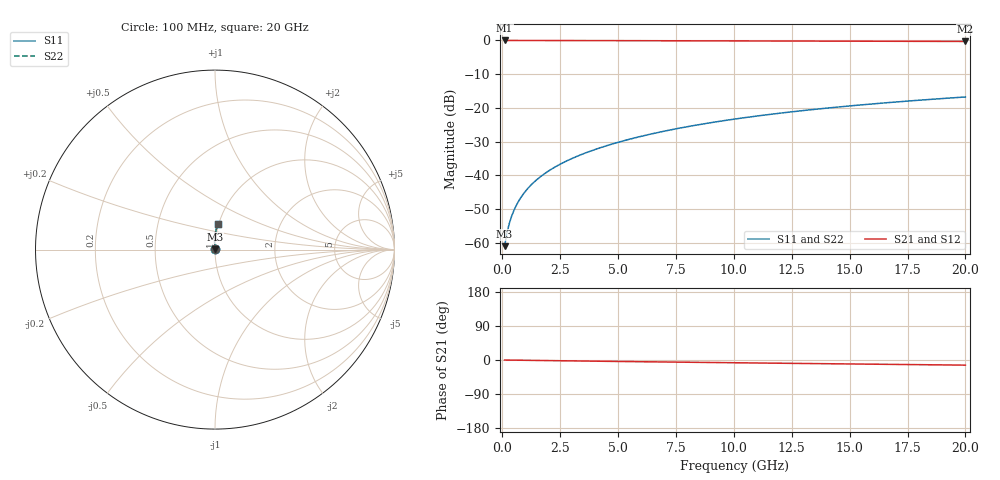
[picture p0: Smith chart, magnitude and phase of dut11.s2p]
! Touchstone file exported from HFSS 2024.1.0
!  File:  C:/UserFiles/LocalFiles/RDL_TSV_Batchsim/temp_RDL_top_11_1778679802.aedt
!  Generated:  09:45:52 PM May 13, 2026
!  Design:  RDL_top
!  Project:  temp_RDL_top_11_1778679802
!  Setup:  Setup1
!  Solution:  Sweep
! Variables:
!  dtsv = 10.80580581um
!  hbump = 3um
!  htsv = 93.51um
!  ldown = 100um
!  lrdl = 158.12um
!  p = 40
!  p1 = 59.02um
!  rhole = 1um
!  t = 450um
!  tdown = 3.915915916um
!  trdl = 4.48um
!  wdown = 15.38538539um
!  wrdl = 28.85um
# GHz S MA R 50.000000
! Terminal data exported
! Port[1] = Box2_T1
! Port[2] = Box2_T2
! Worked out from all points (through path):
!   200 points, 100 MHz to 20 GHz, reference 50 ohm
!   highest |S21| = -0.01 dB at 100 MHz (marker M1); lowest = -0.3 dB at 20 GHz (marker M2)
!   group delay of S21, straight-line fit = 1.85 ps
!   lowest |S11| = -61.0 dB at 100 MHz (marker M3), VSWR 1.00, Z = 50.1 + j0.0633 ohm
!   |S11| at or under -10 dB: start of sweep to end of sweep
!   |S22| runs from -61.0 to -16.8 dB; largest |S21 - S12| = 3.1e-15
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0.1  0.0008925 45.1  0.9994 -0.1  0.9994 -0.1  0.0008925 45.1
! Gamma 0 0 0 0
! Port Impedance 50 0 50 0
0.2  0.001397 61.3  0.9993 -0.2  0.9993 -0.2  0.001397 61.3
0.3  0.001925 68.8  0.9993 -0.2  0.9993 -0.2  0.001925 68.8
0.4  0.002463 73.4  0.9992 -0.3  0.9992 -0.3  0.002463 73.4
0.5  0.003008 76.5  0.9992 -0.4  0.9992 -0.4  0.003008 76.5
0.6  0.003561 78.7  0.9991 -0.5  0.9991 -0.5  0.003561 78.7
0.8  0.00468 81.8  0.999 -0.7  0.999 -0.7  0.00468 81.8
1.1  0.006384 84.7  0.9988 -0.9  0.9988 -0.9  0.006384 84.7
1.5  0.008693 87.0  0.9985 -1.2  0.9985 -1.2  0.008693 87.0
1.8  0.01045 88.2  0.9982 -1.5  0.9982 -1.5  0.01045 88.2
2.1  0.01223 89.1  0.9978 -1.7  0.9978 -1.7  0.01223 89.1
2.7  0.01587 90.5  0.997 -2.2  0.997 -2.2  0.01587 90.5
3.5  0.0209 91.8  0.9956 -2.8  0.9956 -2.8  0.0209 91.8
4.2  0.02548 92.5  0.9943 -3.3  0.9943 -3.3  0.02548 92.5
5  0.0309 93.0  0.9927 -3.9  0.9927 -3.9  0.0309 93.0
6.8  0.04377 93.1  0.989 -5.1  0.989 -5.1  0.04377 93.1
8.4  0.05577 92.4  0.9858 -6.2  0.9858 -6.2  0.05577 92.4
10.1  0.06884 91.3  0.9826 -7.3  0.9826 -7.3  0.06884 91.3
11.7  0.08128 90.0  0.9797 -8.3  0.9797 -8.3  0.08128 90.0
13.4  0.09454 88.6  0.9769 -9.4  0.9769 -9.4  0.09453 88.6
16.7  0.1201 85.7  0.9715 -11.5  0.9715 -11.5  0.1201 85.7
20  0.1452 82.9  0.9662 -13.6  0.9662 -13.6  0.1452 82.9
